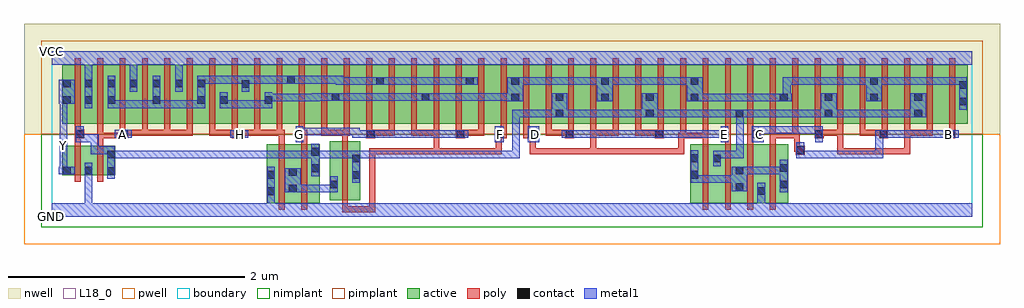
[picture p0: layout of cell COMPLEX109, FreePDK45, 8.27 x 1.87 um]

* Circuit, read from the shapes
.subckt COMPLEX109 A B C D E F G GND H VCC Y
M1 GND n1 Y VSUBS nfet w=0.25u l=0.05u
M2 n1 A GND VSUBS nfet w=0.25u l=0.05u
M3 n2 H GND VSUBS nfet w=0.5u l=0.05u
M4 n1 G n2 VSUBS nfet w=0.5u l=0.05u
M5 n1 F n2 VSUBS nfet w=0.5u l=0.05u
M6 n1 D n3 VSUBS nfet w=0.5u l=0.05u
M7 n3 E n1 VSUBS nfet w=0.5u l=0.05u
M8 GND C n3 VSUBS nfet w=0.5u l=0.05u
M9 n3 B GND VSUBS nfet w=0.5u l=0.05u
M10 VCC n1 Y n4 pfet w=0.5u l=0.05u
M11 n5 A VCC n4 pfet w=0.5u l=0.05u m=5
M12 n6 H n5 n4 pfet w=0.5u l=0.05u m=4
M13 n7 G n5 n4 pfet w=0.5u l=0.05u
M14 n6 F n7 n4 pfet w=0.5u l=0.05u
M15 n8 F n6 n4 pfet w=0.5u l=0.05u
M16 n5 G n8 n4 pfet w=0.5u l=0.05u
M17 n9 G n5 n4 pfet w=0.5u l=0.05u
M18 n6 F n9 n4 pfet w=0.5u l=0.05u
M19 n10 F n6 n4 pfet w=0.5u l=0.05u
M20 n5 G n10 n4 pfet w=0.5u l=0.05u
M21 n11 G n5 n4 pfet w=0.5u l=0.05u
M22 n6 F n11 n4 pfet w=0.5u l=0.05u
M23 n12 D n6 n4 pfet w=0.5u l=0.05u
M24 n1 E n12 n4 pfet w=0.5u l=0.05u
M25 n13 E n1 n4 pfet w=0.5u l=0.05u
M26 n6 D n13 n4 pfet w=0.5u l=0.05u
M27 n14 D n6 n4 pfet w=0.5u l=0.05u
M28 n1 E n14 n4 pfet w=0.5u l=0.05u
M29 n15 E n1 n4 pfet w=0.5u l=0.05u
M30 n6 D n15 n4 pfet w=0.5u l=0.05u
M31 n16 D n6 n4 pfet w=0.5u l=0.05u
M32 n1 E n16 n4 pfet w=0.5u l=0.05u
M33 n17 C n1 n4 pfet w=0.5u l=0.05u
M34 n6 B n17 n4 pfet w=0.5u l=0.05u
M35 n18 B n6 n4 pfet w=0.5u l=0.05u
M36 n1 C n18 n4 pfet w=0.5u l=0.05u
M37 n19 C n1 n4 pfet w=0.5u l=0.05u
M38 n6 B n19 n4 pfet w=0.5u l=0.05u
M39 n20 B n6 n4 pfet w=0.5u l=0.05u
M40 n1 C n20 n4 pfet w=0.5u l=0.05u
M41 n21 C n1 n4 pfet w=0.5u l=0.05u
M42 n6 B n21 n4 pfet w=0.5u l=0.05u
.ends

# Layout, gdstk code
import gdstk
lib = gdstk.Library(unit=1e-6, precision=1e-09)
def R(c, l, rs):  # rectangles x0, y0, x1, y1
    for r in rs: c.add(gdstk.rectangle(r[:2], r[2:], *l))
def A(c, l, x, y, w, h, nx, ny, dx, dy):  # array of equal rectangles
    R(c, l, [(x+i*dx, y+j*dy, x+i*dx+w, y+j*dy+h) for i in range(nx) for j in range(ny)])
active = (1, 0)
pwell = (2, 0)
nwell = (3, 0)
nimplant = (4, 0)
pimplant = (5, 0)
poly = (9, 0)
contact = (10, 0)
metal1 = (11, 0)
L18_0 = (18, 0)
boundary = (235, 0)

complex109 = lib.new_cell('COMPLEX109')
A(complex109, active, 0.09, 0.787, 0.075, 0.413, 4, 1, 0.38, 0)
A(complex109, active, 0.85, 0.787, 0.265, 0.5, 3, 1, 0.19, 0)
A(complex109, active, 3.89, 0.787, 0.075, 0.413, 3, 1, 0.76, 0)
A(complex109, active, 4.495, 0.787, 0.23, 0.5, 4, 1, 0.38, 0)
A(complex109, active, 4.65, 0.787, 0.225, 0.5, 4, 1, 0.38, 0)
R(complex109, active, [(1.82,0.112,2.08,0.612), (1.82,0.112,1.895,0.612), (2.005,0.112,2.27,0.612), (5.41,0.112,5.675,0.612), (5.6,0.112,5.865,0.612), (5.79,0.112,6.05,0.612), (5.975,0.112,6.24,0.612), (5.975,0.112,6.05,0.592), (2.355,0.137,2.615,0.637), (2.005,0.145,2.08,0.592), (2.195,0.145,2.27,0.612), (2.355,0.145,2.43,0.637), (2.54,0.145,2.615,0.637), (5.41,0.145,5.485,0.612), (5.6,0.145,5.675,0.592), (5.79,0.145,5.865,0.592), (6.165,0.145,6.24,0.612), (0.09,0.35,0.165,0.6), (0.09,0.35,0.35,0.6), (0.275,0.35,0.54,0.6), (0.275,0.35,0.35,0.53), (0.465,0.35,0.54,0.6), (0.09,0.787,0.35,1.287), (0.275,0.787,0.545,1.287), (0.275,0.787,0.35,1.255), (0.47,0.787,0.73,1.287), (0.655,0.787,0.925,1.287), (0.655,0.787,0.73,1.255), (1.04,0.787,1.115,1.255), (1.42,0.787,1.68,1.287), (1.42,0.787,1.495,1.07), (1.605,0.787,1.68,1.2), (1.605,0.787,1.875,1.287), (1.8,0.787,2.065,1.287), (1.8,0.787,1.875,1.07), (1.99,0.787,2.215,1.287), (2.215,0.787,2.442,1.287), (2.367,0.787,2.442,1.07), (2.367,0.787,2.595,1.287), (2.595,0.787,2.82,1.287), (2.745,0.787,2.82,1.2), (2.745,0.787,2.975,1.287), (2.975,0.787,3.205,1.287), (3.13,0.787,3.355,1.287), (3.13,0.787,3.205,1.07), (3.355,0.787,3.58,1.287), (3.505,0.787,3.58,1.2), (3.505,0.787,3.735,1.287), (3.735,0.787,3.965,1.287), (3.89,0.787,4.115,1.287), (4.115,0.787,4.34,1.287), (4.265,0.787,4.495,1.287), (4.265,0.787,4.34,1.07), (5.03,0.787,5.105,1.07), (5.79,0.787,5.865,1.07), (6.015,0.787,6.24,1.287), (6.165,0.787,6.24,1.2), (6.165,0.787,6.395,1.287), (6.395,0.787,6.62,1.287), (6.545,0.787,6.775,1.287), (6.545,0.787,6.62,1.07), (6.775,0.787,7.005,1.287), (6.93,0.787,7.005,1.2), (6.93,0.787,7.155,1.287), (7.155,0.787,7.38,1.287), (7.305,0.787,7.535,1.287), (7.305,0.787,7.38,1.07), (7.535,0.787,7.76,1.287), (7.685,0.787,7.76,1.2), (1.99,0.807,2.065,1.2)])
R(complex109, pwell, [(-0.235,-0.235,8.035,0.7)])
R(complex109, nwell, [(-0.235,0.7,8.035,1.635)])
R(complex109, nimplant, [(-0.09,-0.09,7.89,0.7)])
R(complex109, pimplant, [(-0.09,0.7,7.89,1.49)])
A(complex109, poly, 5.515, 0.057, 0.05, 0.61, 4, 1, 0.19, 0)
A(complex109, poly, 5.515, 0.617, 0.05, 0.095, 4, 1, 0.19, 0)
A(complex109, poly, 0.575, 0.687, 0.05, 0.095, 25, 1, 0.19, 0)
A(complex109, poly, 0.955, 0.687, 0.24, 0.05, 3, 1, 0.38, 0)
A(complex109, poly, 2.855, 0.687, 0.05, 0.05, 3, 1, 0.19, 0)
A(complex109, poly, 6.465, 0.687, 0.05, 0.095, 7, 1, 0.19, 0)
A(complex109, poly, 0.195, 0.732, 0.05, 0.61, 40, 1, 0.19, 0)
R(complex109, poly, [(2.46,0.037,2.51,0.132), (2.46,0.037,2.51,0.087), (2.46,0.037,2.51,0.087), (2.46,0.037,2.51,0.087), (2.46,0.037,2.74,0.087), (2.69,0.037,2.74,0.087), (2.69,0.037,2.74,0.087), (2.69,0.037,2.74,0.087), (2.69,0.037,2.74,0.58), (1.925,0.057,1.975,0.667), (2.115,0.057,2.165,0.667), (2.46,0.082,2.51,0.692), (0.195,0.295,0.245,0.655), (0.385,0.295,0.435,0.655), (6.305,0.525,6.38,0.6), (2.69,0.53,2.74,0.58), (2.69,0.53,2.74,0.58), (2.69,0.53,2.74,0.58), (2.69,0.53,2.872,0.58), (2.822,0.53,2.872,0.58), (2.822,0.53,3.152,0.58), (3.102,0.53,3.152,0.58), (3.102,0.53,3.152,0.58), (3.102,0.53,3.152,0.58), (3.102,0.53,3.285,0.58), (3.235,0.53,3.285,0.58), (3.235,0.53,3.285,0.58), (3.235,0.53,3.285,0.58), (3.235,0.53,3.285,0.58), (3.235,0.53,3.285,0.58), (3.235,0.53,3.285,0.737), (3.235,0.53,3.417,0.58), (3.367,0.53,3.417,0.58), (3.367,0.53,3.417,0.58), (3.367,0.53,3.417,0.58), (3.367,0.53,3.68,0.58), (3.63,0.53,3.68,0.58), (3.63,0.53,3.68,0.58), (3.63,0.53,3.68,0.58), (3.63,0.53,3.812,0.58), (3.762,0.53,3.812,0.58), (3.762,0.53,3.812,0.58), (3.762,0.53,3.812,0.58), (3.762,0.53,3.812,0.712), (4.052,0.53,4.102,0.58), (4.052,0.53,4.102,0.58), (4.052,0.53,4.102,0.58), (4.052,0.53,4.267,0.58), (4.052,0.53,4.102,0.712), (4.217,0.53,4.267,0.58), (4.217,0.53,4.267,0.58), (4.217,0.53,4.267,0.58), (4.217,0.53,4.4,0.58), (4.35,0.53,4.4,0.58), (4.35,0.53,4.615,0.58), (4.565,0.53,4.615,0.58), (4.565,0.53,4.615,0.58), (4.565,0.53,4.615,0.58), (4.565,0.53,4.615,0.737), (4.565,0.53,4.862,0.58), (4.812,0.53,4.862,0.58), (4.812,0.53,4.862,0.58), (4.812,0.53,4.862,0.58), (4.812,0.53,4.995,0.58), (4.945,0.53,4.995,0.58), (4.945,0.53,4.995,0.58), (4.945,0.53,4.995,0.58), (4.945,0.53,5.127,0.58), (5.077,0.53,5.127,0.58), (5.077,0.53,5.127,0.58), (5.077,0.53,5.127,0.58), (5.077,0.53,5.36,0.58), (5.31,0.53,5.36,0.58), (5.31,0.53,5.36,0.58), (5.31,0.53,5.36,0.58), (5.31,0.53,5.36,0.58), (5.31,0.53,5.36,0.58), (5.31,0.53,5.36,0.712), (6.655,0.53,6.705,0.58), (6.655,0.53,6.705,0.58), (6.655,0.53,6.705,0.58), (6.655,0.53,6.705,0.737), (6.655,0.53,6.927,0.58), (6.877,0.53,6.927,0.58), (6.877,0.53,6.927,0.58), (6.877,0.53,6.927,0.58), (6.877,0.53,7.06,0.58), (7.01,0.53,7.06,0.58), (7.01,0.53,7.06,0.58), (7.01,0.53,7.06,0.58), (7.01,0.53,7.275,0.58), (7.225,0.53,7.275,0.58), (7.225,0.53,7.275,0.737), (6.29,0.55,6.34,0.712), (6.29,0.55,6.355,0.6), (6.305,0.55,6.355,0.6), (0.195,0.605,0.245,0.712), (0.385,0.605,0.435,0.712), (1.925,0.617,1.975,0.737), (2.115,0.617,2.165,0.712), (2.46,0.642,2.51,0.737), (0.195,0.662,0.275,0.737), (0.385,0.662,0.435,0.712), (0.385,0.662,0.435,0.712), (0.385,0.662,0.435,0.712), (0.385,0.662,0.625,0.712), (0.385,0.662,0.435,0.782), (0.575,0.662,0.65,0.737), (1.525,0.662,1.617,0.737), (2.062,0.662,2.165,0.737), (2.665,0.662,2.74,0.737), (3.425,0.662,3.5,0.737), (3.762,0.662,3.812,0.712), (3.762,0.662,3.812,0.712), (3.762,0.662,3.855,0.737), (3.995,0.662,4.102,0.737), (4.052,0.662,4.102,0.712), (4.052,0.662,4.102,0.712), (4.35,0.662,4.425,0.737), (5.11,0.662,5.185,0.737), (5.31,0.662,5.375,0.712), (5.325,0.662,5.565,0.712), (5.325,0.662,5.375,0.782), (5.515,0.662,5.565,0.712), (5.515,0.662,5.565,0.712), (5.515,0.662,5.565,0.712), (5.515,0.662,5.565,0.782), (5.662,0.662,5.755,0.737), (5.895,0.662,6.002,0.737), (6.085,0.662,6.135,0.712), (6.085,0.662,6.135,0.712), (6.085,0.662,6.135,0.712), (6.085,0.662,6.325,0.712), (6.085,0.662,6.135,0.782), (6.275,0.662,6.325,0.782), (6.275,0.662,6.34,0.712), (6.465,0.662,6.54,0.737), (7.01,0.662,7.085,0.737), (7.58,0.662,7.655,0.737), (0.195,0.687,0.245,0.782), (0.6,0.687,0.815,0.737), (0.765,0.687,0.815,0.737), (0.765,0.687,0.815,0.737), (0.765,0.687,0.815,0.737), (0.765,0.687,1.005,0.737), (0.955,0.687,1.005,0.737), (0.955,0.687,1.005,0.737), (0.955,0.687,1.005,0.737), (1.145,0.687,1.195,0.737), (1.145,0.687,1.195,0.737), (1.145,0.687,1.195,0.737), (1.335,0.687,1.385,0.737), (1.335,0.687,1.385,0.737), (1.335,0.687,1.385,0.737), (1.567,0.687,1.765,0.737), (1.715,0.687,1.765,0.737), (1.715,0.687,1.765,0.737), (1.715,0.687,1.765,0.737), (1.905,0.687,1.955,0.737), (1.905,0.687,1.955,0.737), (1.905,0.687,1.975,0.737), (2.285,0.687,2.335,0.737), (2.285,0.687,2.335,0.737), (2.285,0.687,2.335,0.737), (2.285,0.687,2.51,0.737), (2.46,0.687,2.525,0.737), (2.69,0.687,2.905,0.737), (2.855,0.687,2.905,0.737), (2.855,0.687,2.905,0.737), (3.045,0.687,3.285,0.737), (3.235,0.687,3.285,0.737), (3.235,0.687,3.285,0.737), (3.235,0.687,3.285,0.737), (3.235,0.687,3.285,0.737), (3.45,0.687,3.665,0.737), (3.615,0.687,3.665,0.737), (3.615,0.687,3.665,0.737), (3.615,0.687,3.665,0.737), (4.185,0.687,4.235,0.737), (4.185,0.687,4.4,0.737), (4.35,0.687,4.4,0.737), (4.35,0.687,4.4,0.737), (4.565,0.687,4.615,0.737), (4.565,0.687,4.615,0.737), (4.565,0.687,4.615,0.737), (4.565,0.687,4.805,0.737), (4.755,0.687,4.805,0.737), (4.755,0.687,4.805,0.737), (4.755,0.687,4.805,0.737), (4.945,0.687,4.995,0.737), (4.945,0.687,5.16,0.737), (5.11,0.687,5.16,0.737), (5.11,0.687,5.16,0.737), (5.705,0.687,5.755,0.782), (5.895,0.687,5.945,0.782), (6.49,0.687,6.54,0.737), (6.49,0.687,6.54,0.737), (6.49,0.687,6.705,0.737), (6.655,0.687,6.705,0.737), (6.655,0.687,6.705,0.737), (6.655,0.687,6.705,0.737), (6.845,0.687,6.895,0.737), (6.845,0.687,6.895,0.737), (6.845,0.687,6.895,0.737), (6.845,0.687,7.06,0.737), (7.225,0.687,7.275,0.737), (7.225,0.687,7.275,0.737), (7.225,0.687,7.275,0.737), (7.225,0.687,7.465,0.737), (7.415,0.687,7.465,0.737), (7.415,0.687,7.465,0.737), (7.415,0.687,7.465,0.737)])
A(complex109, contact, 0.475, 0.955, 0.065, 0.065, 3, 1, 0.38, 0)
A(complex109, contact, 3.895, 0.977, 0.065, 0.065, 3, 2, 0.76, 0.14)
A(complex109, contact, 0.855, 1.095, 0.065, 0.065, 3, 1, 0.19, 0)
R(complex109, contact, [(1.825,0.182,1.89,0.247), (5.98,0.185,6.045,0.25), (2.01,0.205,2.075,0.27), (5.795,0.217,5.86,0.282), (2.36,0.24,2.425,0.305), (6.17,0.24,6.235,0.305), (2.545,0.32,2.61,0.385), (1.825,0.322,1.89,0.387), (5.415,0.322,5.48,0.387), (2.01,0.345,2.075,0.41), (0.47,0.355,0.535,0.42), (0.095,0.357,0.16,0.422), (0.28,0.357,0.345,0.422), (5.795,0.357,5.86,0.422), (2.2,0.377,2.265,0.442), (6.17,0.38,6.235,0.445), (2.545,0.46,2.61,0.525), (5.605,0.46,5.67,0.525), (5.415,0.462,5.48,0.527), (0.47,0.495,0.535,0.56), (2.2,0.517,2.265,0.582), (6.31,0.53,6.375,0.595), (0.205,0.667,0.27,0.732), (0.58,0.667,0.645,0.732), (1.547,0.667,1.612,0.732), (2.067,0.667,2.132,0.732), (2.67,0.667,2.735,0.732), (3.43,0.667,3.495,0.732), (3.767,0.667,3.832,0.732), (4.032,0.667,4.097,0.732), (4.355,0.667,4.42,0.732), (5.115,0.667,5.18,0.732), (5.667,0.667,5.732,0.732), (5.932,0.667,5.997,0.732), (6.47,0.667,6.535,0.732), (7.015,0.667,7.08,0.732), (7.585,0.667,7.65,0.732), (4.27,0.84,4.335,0.905), (5.035,0.84,5.1,0.905), (5.795,0.84,5.86,0.905), (6.55,0.84,6.615,0.905), (7.31,0.84,7.375,0.905), (7.69,0.942,7.755,1.007), (0.095,0.955,0.16,1.02), (0.28,0.955,0.345,1.02), (1.425,0.955,1.49,1.02), (1.805,0.955,1.87,1.02), (6.17,0.977,6.235,1.042), (6.935,0.977,7,1.042), (2.372,0.98,2.437,1.045), (3.135,0.98,3.2,1.045), (4.27,0.98,4.335,1.045), (5.035,0.98,5.1,1.045), (6.55,0.98,6.615,1.045), (7.31,0.98,7.375,1.045), (7.69,1.082,7.755,1.147), (1.61,1.092,1.675,1.157), (0.095,1.095,0.16,1.16), (0.28,1.095,0.345,1.16), (0.475,1.095,0.54,1.16), (0.66,1.095,0.725,1.16), (2.75,1.117,2.815,1.182), (3.51,1.117,3.575,1.182), (6.935,1.117,7,1.182), (1.995,1.127,2.06,1.192)])
A(complex109, metal1, 0.475, 0.92, 0.065, 0.275, 3, 1, 0.38, 0)
A(complex109, metal1, 3.86, 0.977, 0.135, 0.205, 3, 1, 0.76, 0)
R(complex109, metal1, [(0,0,7.8,0.115), (0.28,0.05,0.345,0.115), (0.28,0.05,0.345,0.115), (0.28,0.05,0.345,0.115), (0.28,0.05,0.345,0.115), (0.28,0.05,0.345,0.115), (0.28,0.05,0.345,0.115), (0.28,0.05,0.345,0.387), (1.825,0.05,1.89,0.115), (1.825,0.05,1.89,0.115), (1.825,0.05,1.89,0.212), (5.98,0.05,6.045,0.115), (5.98,0.05,6.045,0.115), (5.98,0.05,6.045,0.215), (1.825,0.147,1.89,0.422), (5.98,0.15,6.045,0.285), (1.975,0.205,2.11,0.41), (2.045,0.205,2.11,0.27), (2.045,0.205,2.11,0.27), (2.045,0.205,2.255,0.27), (2.19,0.205,2.255,0.27), (2.19,0.205,2.27,0.27), (2.205,0.205,2.27,0.27), (2.205,0.205,2.425,0.27), (2.36,0.205,2.425,0.34), (6.17,0.205,6.235,0.48), (5.76,0.217,5.895,0.422), (2.545,0.285,2.61,0.56), (5.415,0.287,5.48,0.562), (5.415,0.287,5.582,0.352), (5.517,0.287,5.582,0.352), (5.517,0.287,5.687,0.352), (5.622,0.287,5.825,0.352), (5.622,0.287,5.687,0.352), (5.76,0.287,5.825,0.352), (5.76,0.287,5.825,0.352), (0.47,0.32,0.535,0.595), (0.28,0.322,0.345,0.457), (2.2,0.342,2.265,0.617), (0.06,0.357,0.195,0.422), (0.067,0.357,0.132,0.597), (5.83,0.357,6.062,0.422), (5.997,0.357,6.062,0.422), (5.997,0.357,6.062,0.422), (5.997,0.357,6.062,0.422), (5.997,0.357,6.235,0.422), (6.17,0.357,6.235,0.422), (6.17,0.357,6.235,0.422), (5.605,0.425,5.67,0.56), (0.47,0.495,0.782,0.56), (0.717,0.495,0.92,0.56), (0.717,0.495,0.782,0.56), (0.717,0.495,0.782,0.56), (0.717,0.495,0.782,0.56), (0.855,0.495,0.92,0.56), (0.855,0.495,0.92,0.56), (0.855,0.495,0.92,0.56), (0.855,0.495,1.057,0.56), (0.992,0.495,1.195,0.56), (0.992,0.495,1.057,0.56), (0.992,0.495,1.057,0.56), (0.992,0.495,1.057,0.56), (1.13,0.495,1.195,0.56), (1.13,0.495,1.195,0.56), (1.13,0.495,1.195,0.56), (1.13,0.495,1.437,0.56), (1.372,0.495,1.575,0.56), (1.372,0.495,1.437,0.56), (1.372,0.495,1.437,0.56), (1.372,0.495,1.437,0.56), (1.51,0.495,1.575,0.56), (1.51,0.495,1.732,0.56), (1.667,0.495,1.87,0.56), (1.667,0.495,1.732,0.56), (1.667,0.495,1.732,0.56), (1.667,0.495,1.732,0.56), (1.805,0.495,1.87,0.56), (1.805,0.495,1.87,0.56), (1.805,0.495,1.87,0.56), (1.805,0.495,2.007,0.56), (1.942,0.495,2.007,0.56), (1.942,0.495,2.007,0.56), (1.942,0.495,2.007,0.56), (1.942,0.495,2.265,0.56), (2.2,0.495,2.335,0.56), (2.27,0.495,2.335,0.56), (2.27,0.495,2.472,0.56), (2.407,0.495,2.472,0.56), (2.407,0.495,2.475,0.56), (2.41,0.495,2.475,0.56), (2.41,0.495,2.61,0.56), (2.545,0.495,2.77,0.56), (2.705,0.495,2.77,0.56), (2.705,0.495,2.77,0.56), (2.705,0.495,2.77,0.56), (2.705,0.495,2.987,0.56), (2.922,0.495,3.125,0.56), (2.922,0.495,2.987,0.56), (2.922,0.495,2.987,0.56), (2.922,0.495,2.987,0.56), (3.06,0.495,3.125,0.56), (3.06,0.495,3.125,0.56), (3.06,0.495,3.125,0.56), (3.06,0.495,3.262,0.56), (3.197,0.495,3.262,0.56), (3.197,0.495,3.402,0.56), (3.337,0.495,3.402,0.56), (3.337,0.495,3.402,0.56), (3.337,0.495,3.402,0.56), (3.337,0.495,3.65,0.56), (3.585,0.495,3.65,0.56), (3.585,0.495,3.65,0.56), (3.585,0.495,3.65,0.56), (3.585,0.495,3.787,0.56), (3.722,0.495,3.787,0.56), (3.722,0.495,3.787,0.56), (3.722,0.495,3.787,0.56), (3.722,0.495,3.965,0.56), (3.9,0.495,3.965,0.56), (3.9,0.495,3.965,0.905), (5.605,0.495,5.86,0.56), (5.795,0.495,5.86,0.56), (5.795,0.495,5.86,0.56), (5.795,0.495,5.865,0.56), (5.8,0.495,5.865,0.905), (6.31,0.495,6.375,0.63), (6.31,0.495,6.397,0.56), (6.332,0.495,6.535,0.56), (6.332,0.495,6.397,0.56), (6.47,0.495,6.535,0.56), (6.47,0.495,6.535,0.56), (6.47,0.495,6.535,0.56), (6.47,0.495,6.69,0.56), (6.625,0.495,6.69,0.56), (6.625,0.495,6.827,0.56), (6.762,0.495,6.827,0.56), (6.762,0.495,6.827,0.56), (6.762,0.495,6.827,0.56), (6.762,0.495,7.045,0.56), (6.98,0.495,7.045,0.56), (6.98,0.495,7.045,0.732), (0.332,0.53,0.397,0.595), (0.332,0.53,0.407,0.595), (0.332,0.53,0.397,0.697), (0.342,0.53,0.407,0.595), (0.342,0.53,0.535,0.595), (0.067,0.532,0.132,0.667), (0.067,0.602,0.132,1.02), (0.205,0.632,0.27,0.767), (0.205,0.632,0.397,0.697), (0.332,0.632,0.397,0.697), (2.067,0.632,2.132,0.767), (3.752,0.632,3.832,0.767), (4.032,0.632,4.132,0.767), (5.667,0.632,5.732,0.767), (5.932,0.632,6.032,0.767), (6.47,0.632,6.535,0.767), (0.532,0.667,0.68,0.737), (1.512,0.667,1.667,0.732), (2.545,0.667,2.7,0.732), (2.545,0.667,2.61,0.755), (2.635,0.667,2.77,0.732), (2.705,0.667,2.77,0.732), (2.705,0.667,2.77,0.732), (2.705,0.667,2.987,0.732), (2.922,0.667,3.125,0.732), (2.922,0.667,2.987,0.732), (2.922,0.667,2.987,0.732), (2.922,0.667,2.987,0.732), (3.06,0.667,3.125,0.732), (3.06,0.667,3.125,0.732), (3.06,0.667,3.125,0.732), (3.06,0.667,3.262,0.732), (3.197,0.667,3.4,0.732), (3.197,0.667,3.262,0.732), (3.335,0.667,3.4,0.732), (3.335,0.667,3.46,0.732), (3.395,0.667,3.53,0.732), (4.32,0.667,4.455,0.732), (4.39,0.667,4.507,0.732), (4.442,0.667,4.507,0.732), (4.442,0.667,4.592,0.732), (4.527,0.667,4.592,0.732), (4.527,0.667,4.79,0.732), (4.725,0.667,4.79,0.732), (4.725,0.667,4.79,0.732), (4.725,0.667,4.79,0.732), (4.725,0.667,4.927,0.732), (4.862,0.667,4.927,0.732), (4.862,0.667,4.927,0.732), (4.862,0.667,4.927,0.732), (4.862,0.667,5.145,0.732), (5.08,0.667,5.145,0.732), (5.08,0.667,5.145,0.732), (5.08,0.667,5.215,0.732), (5.15,0.667,5.282,0.732), (5.217,0.667,5.42,0.732), (5.217,0.667,5.282,0.732), (5.355,0.667,5.42,0.732), (5.355,0.667,5.42,0.732), (5.355,0.667,5.42,0.732), (5.355,0.667,5.582,0.732), (5.517,0.667,5.582,0.732), (5.517,0.667,5.687,0.732), (5.622,0.667,5.687,0.732), (5.622,0.667,5.732,0.732), (6.98,0.667,7.045,0.732), (6.98,0.667,7.045,0.732), (6.98,0.667,7.045,0.732), (6.98,0.667,7.045,0.732), (6.98,0.667,7.115,0.732), (7.05,0.667,7.202,0.732), (7.137,0.667,7.202,0.732), (7.137,0.667,7.32,0.732), (7.255,0.667,7.32,0.732), (7.255,0.667,7.46,0.732), (7.395,0.667,7.46,0.732), (7.395,0.667,7.46,0.732), (7.395,0.667,7.46,0.732), (7.395,0.667,7.597,0.732), (7.532,0.667,7.597,0.732), (7.532,0.667,7.597,0.732), (7.532,0.667,7.685,0.732), (2.067,0.69,2.265,0.755), (2.2,0.69,2.265,0.755), (2.2,0.69,2.27,0.755), (2.205,0.69,2.27,0.755), (2.205,0.69,2.472,0.755), (2.407,0.69,2.61,0.755), (2.407,0.69,2.472,0.755), (2.407,0.69,2.472,0.755), (2.407,0.69,2.472,0.755), (5.967,0.702,6.032,0.767), (5.967,0.702,6.032,0.767), (5.967,0.702,6.2,0.767), (6.135,0.702,6.2,0.767), (6.135,0.702,6.2,0.767), (6.135,0.702,6.2,0.767), (6.135,0.702,6.397,0.767), (6.332,0.702,6.535,0.767), (6.332,0.702,6.397,0.767), (6.332,0.702,6.397,0.767), (6.332,0.702,6.397,0.767), (3.9,0.84,3.965,0.905), (3.9,0.84,3.965,0.905), (3.9,0.84,3.965,0.905), (3.9,0.84,3.99,0.905), (3.925,0.84,3.99,0.905), (3.925,0.84,4.132,0.905), (4.067,0.84,4.132,0.905), (4.067,0.84,4.132,0.905), (4.067,0.84,4.132,0.905), (4.067,0.84,4.3,0.905), (4.235,0.84,4.37,1.045), (4.305,0.84,4.37,0.905), (4.305,0.84,4.37,0.905), (4.305,0.84,4.507,0.905), (4.442,0.84,4.645,0.905), (4.442,0.84,4.507,0.905), (4.58,0.84,4.645,0.905), (4.58,0.84,4.645,0.905), (4.58,0.84,4.645,0.905), (4.58,0.84,4.79,0.905), (4.725,0.84,4.79,0.905), (4.725,0.84,4.927,0.905), (4.862,0.84,5.065,0.905), (4.862,0.84,4.927,0.905), (4.862,0.84,4.927,0.905), (4.862,0.84,4.927,0.905), (5,0.84,5.135,1.045), (5.07,0.84,5.282,0.905), (5.217,0.84,5.42,0.905), (5.217,0.84,5.282,0.905), (5.217,0.84,5.282,0.905), (5.217,0.84,5.282,0.905), (5.355,0.84,5.42,0.905), (5.355,0.84,5.42,0.905), (5.355,0.84,5.42,0.905), (5.355,0.84,5.582,0.905), (5.517,0.84,5.582,0.905), (5.517,0.84,5.687,0.905), (5.622,0.84,5.825,0.905), (5.622,0.84,5.687,0.905), (5.76,0.84,5.825,0.905), (5.76,0.84,5.825,0.905), (5.76,0.84,5.895,0.905), (5.8,0.84,5.865,0.905), (5.8,0.84,5.865,0.905), (5.83,0.84,6.032,0.905), (5.967,0.84,6.032,0.905), (5.967,0.84,6.032,0.905), (5.967,0.84,6.032,0.905), (5.967,0.84,6.237,0.905), (6.172,0.84,6.237,0.905), (6.172,0.84,6.237,0.905), (6.172,0.84,6.237,0.905), (6.172,0.84,6.397,0.905), (6.332,0.84,6.535,0.905), (6.332,0.84,6.397,0.905), (6.332,0.84,6.397,0.905), (6.332,0.84,6.397,0.905), (6.47,0.84,6.535,0.905), (6.47,0.84,6.58,0.905), (6.515,0.84,6.65,1.045), (6.585,0.84,6.69,0.905), (6.625,0.84,6.69,0.905), (6.625,0.84,6.827,0.905), (6.762,0.84,6.965,0.905), (6.762,0.84,6.827,0.905), (6.762,0.84,6.827,0.905), (6.762,0.84,6.827,0.905), (6.9,0.84,6.965,0.905), (6.9,0.84,7.182,0.905), (7.117,0.84,7.32,0.905), (7.117,0.84,7.182,0.905), (7.117,0.84,7.182,0.905), (7.117,0.84,7.182,0.905), (7.255,0.84,7.32,0.905), (7.255,0.84,7.34,0.905), (7.275,0.84,7.41,1.045), (7.69,0.907,7.755,1.182), (0.28,0.92,0.345,1.195), (0.475,0.92,0.782,0.985), (0.717,0.92,0.92,0.985), (0.717,0.92,0.782,0.985), (0.717,0.92,0.782,0.985), (0.717,0.92,0.782,0.985), (0.855,0.92,0.92,0.985), (0.855,0.92,0.92,0.985), (0.855,0.92,1.057,0.985), (0.992,0.92,1.057,0.985), (0.992,0.92,1.057,0.985), (0.992,0.92,1.057,0.985), (0.992,0.92,1.3,0.985), (1.235,0.92,1.3,0.985), (1.235,0.92,1.3,0.985), (1.425,0.92,1.49,1.055), (1.425,0.92,1.575,0.985), (1.51,0.92,1.575,0.985), (1.51,0.92,1.712,0.985), (1.647,0.92,1.712,0.985), (1.647,0.92,1.712,0.985), (1.647,0.92,1.712,0.985), (1.647,0.92,1.87,0.985), (1.805,0.92,1.87,1.055), (0.06,0.955,0.195,1.16), (1.805,0.977,1.87,1.042), (1.805,0.977,1.87,1.042), (1.805,0.977,2.007,1.042), (1.942,0.977,2.007,1.042), (1.942,0.977,2.007,1.042), (1.942,0.977,2.007,1.042), (1.942,0.977,2.247,1.042), (2.182,0.977,2.247,1.042), (2.182,0.977,2.27,1.042), (2.205,0.977,2.27,1.045), (5.45,0.977,5.582,1.042), (5.517,0.977,5.582,1.042), (5.517,0.977,5.687,1.042), (5.622,0.977,5.825,1.042), (5.622,0.977,5.687,1.042), (5.76,0.977,5.825,1.042), (5.76,0.977,5.825,1.042), (5.76,0.977,5.825,1.042), (5.76,0.977,6.062,1.042), (5.997,0.977,6.2,1.042), (5.997,0.977,6.062,1.042), (5.997,0.977,6.062,1.042), (5.997,0.977,6.062,1.042), (6.135,0.977,6.2,1.042), (6.135,0.977,6.2,1.042), (6.135,0.977,6.27,1.042), (6.195,0.977,6.26,1.182), (6.9,0.977,7.035,1.182), (2.205,0.98,2.402,1.045), (2.337,0.98,2.472,1.045), (2.407,0.98,2.562,1.045), (2.497,0.98,2.562,1.045), (2.497,0.98,2.632,1.045), (2.567,0.98,2.632,1.045), (2.567,0.98,2.7,1.045), (2.635,0.98,2.7,1.045), (2.635,0.98,2.77,1.045), (2.705,0.98,2.77,1.045), (2.705,0.98,2.987,1.045), (2.922,0.98,3.125,1.045), (2.922,0.98,2.987,1.045), (2.922,0.98,2.987,1.045), (2.922,0.98,2.987,1.045), (3.06,0.98,3.125,1.045), (3.06,0.98,3.165,1.045), (3.1,0.98,3.235,1.045), (3.17,0.98,3.262,1.045), (3.197,0.98,3.4,1.045), (3.197,0.98,3.262,1.045), (3.335,0.98,3.4,1.045), (3.335,0.98,3.4,1.045), (3.335,0.98,3.4,1.045), (3.335,0.98,3.54,1.045), (3.475,0.98,3.54,1.045), (3.475,0.98,3.54,1.045), (3.475,0.98,3.54,1.045), (3.475,0.98,3.787,1.045), (3.722,0.98,3.925,1.045), (3.722,0.98,3.787,1.045), (3.722,0.98,3.787,1.045), (3.722,0.98,3.787,1.045), (1.61,1.057,1.675,1.192), (0.66,1.06,0.725,1.195), (1.045,1.06,1.11,1.195), (2.407,1.117,2.61,1.182), (2.407,1.117,2.472,1.182), (2.407,1.117,2.472,1.182), (2.407,1.117,2.472,1.192), (2.545,1.117,2.61,1.182), (2.545,1.117,2.78,1.182), (2.715,1.117,2.78,1.182), (2.715,1.117,2.78,1.182), (2.715,1.117,2.85,1.182), (2.785,1.117,2.987,1.182), (2.922,1.117,3.125,1.182), (2.922,1.117,2.987,1.182), (2.922,1.117,2.987,1.182), (2.922,1.117,2.987,1.182), (3.06,1.117,3.125,1.182), (3.06,1.117,3.125,1.182), (3.06,1.117,3.125,1.182), (3.06,1.117,3.262,1.182), (3.197,1.117,3.4,1.182), (3.197,1.117,3.262,1.182), (3.335,1.117,3.4,1.182), (3.335,1.117,3.4,1.182), (3.335,1.117,3.4,1.182), (3.335,1.117,3.54,1.182), (3.475,1.117,3.61,1.182), (3.93,1.117,3.995,1.182), (3.93,1.117,3.995,1.182), (3.93,1.117,4.132,1.182), (4.067,1.117,4.27,1.182), (4.067,1.117,4.132,1.182), (4.067,1.117,4.132,1.182), (4.067,1.117,4.132,1.182), (4.205,1.117,4.27,1.182), (4.205,1.117,4.27,1.182), (4.205,1.117,4.27,1.182), (4.205,1.117,4.507,1.182), (4.442,1.117,4.645,1.182), (4.442,1.117,4.507,1.182), (4.58,1.117,4.645,1.182), (4.58,1.117,4.685,1.182), (4.69,1.117,4.782,1.182), (4.717,1.117,4.782,1.182), (4.717,1.117,4.927,1.182), (4.862,1.117,4.927,1.182), (4.862,1.117,4.927,1.182), (4.862,1.117,4.927,1.182), (4.862,1.117,5.145,1.182), (5.08,1.117,5.145,1.182), (5.08,1.117,5.282,1.182), (5.217,1.117,5.282,1.182), (5.217,1.117,5.282,1.182), (5.217,1.117,5.282,1.182), (5.217,1.117,5.445,1.182), (5.38,1.117,5.445,1.182), (5.38,1.117,5.445,1.182), (6.195,1.117,6.26,1.182), (6.195,1.117,6.397,1.182), (6.332,1.117,6.397,1.182), (6.332,1.117,6.397,1.182), (6.332,1.117,6.397,1.182), (6.332,1.117,6.552,1.182), (6.487,1.117,6.69,1.182), (6.487,1.117,6.552,1.182), (6.487,1.117,6.552,1.182), (6.487,1.117,6.552,1.182), (6.625,1.117,6.69,1.182), (6.625,1.117,6.827,1.182), (6.762,1.117,6.965,1.182), (6.762,1.117,6.827,1.182), (6.762,1.117,6.827,1.182), (6.762,1.117,6.827,1.182), (6.97,1.117,7.182,1.182), (7.117,1.117,7.32,1.182), (7.117,1.117,7.182,1.182), (7.117,1.117,7.182,1.182), (7.117,1.117,7.182,1.182), (7.255,1.117,7.32,1.182), (7.255,1.117,7.46,1.182), (7.395,1.117,7.46,1.182), (7.395,1.117,7.46,1.182), (7.395,1.117,7.46,1.182), (7.395,1.117,7.617,1.182), (7.552,1.117,7.755,1.182), (7.552,1.117,7.617,1.182), (7.552,1.117,7.617,1.182), (7.552,1.117,7.617,1.182), (1.235,1.127,1.437,1.192), (1.372,1.127,1.575,1.192), (1.372,1.127,1.437,1.192), (1.372,1.127,1.437,1.192), (1.372,1.127,1.437,1.192), (1.51,1.127,1.575,1.192), (1.51,1.127,1.675,1.192), (1.61,1.127,1.732,1.192), (1.667,1.127,1.87,1.192), (1.667,1.127,1.732,1.192), (1.805,1.127,1.87,1.192), (1.805,1.127,1.87,1.192), (1.805,1.127,1.87,1.192), (1.805,1.127,2.025,1.192), (1.96,1.127,2.095,1.192), (2.03,1.127,2.095,1.192), (2.03,1.127,2.095,1.192), (2.03,1.127,2.255,1.192), (2.19,1.127,2.255,1.192), (2.19,1.127,2.335,1.192), (2.27,1.127,2.335,1.192), (2.27,1.127,2.472,1.192), (0.28,1.13,0.345,1.35), (0.66,1.13,0.725,1.35), (1.045,1.13,1.11,1.35), (0,1.285,7.8,1.4)])
R(complex109, L18_0, [(0,0,7.8,0.115), (0.28,0.05,0.345,0.115), (0.28,0.05,0.345,0.115), (0.28,0.05,0.345,0.115), (0.28,0.05,0.345,0.115), (0.28,0.05,0.345,0.115), (0.28,0.05,0.345,0.115), (0.28,0.05,0.345,0.387), (1.825,0.05,1.89,0.115), (1.825,0.05,1.89,0.115), (1.825,0.05,1.89,0.212), (5.98,0.05,6.045,0.115), (5.98,0.05,6.045,0.115), (5.98,0.05,6.045,0.215), (1.825,0.147,1.89,0.422), (5.98,0.15,6.045,0.285), (0.28,0.322,0.345,0.457), (0.06,0.357,0.195,0.422), (0.067,0.357,0.132,0.597), (6.31,0.495,6.375,0.63), (6.31,0.495,6.397,0.56), (6.332,0.495,6.397,0.56), (6.332,0.495,6.535,0.56), (6.47,0.495,6.535,0.56), (6.47,0.495,6.535,0.56), (6.47,0.495,6.535,0.56), (6.47,0.495,6.69,0.56), (6.625,0.495,6.69,0.56), (6.625,0.495,6.827,0.56), (6.762,0.495,6.827,0.56), (6.762,0.495,6.827,0.56), (6.762,0.495,6.827,0.56), (6.762,0.495,7.045,0.56), (6.98,0.495,7.045,0.56), (6.98,0.495,7.045,0.732), (0.067,0.532,0.132,0.667), (0.067,0.567,0.132,0.632), (0.067,0.602,0.132,1.02), (2.067,0.632,2.132,0.767), (3.752,0.632,3.832,0.767), (4.032,0.632,4.132,0.767), (5.667,0.632,5.732,0.767), (5.932,0.632,6.032,0.767), (6.47,0.632,6.535,0.767), (0.532,0.667,0.68,0.737), (0.567,0.667,0.632,0.732), (1.512,0.667,1.667,0.732), (1.567,0.667,1.632,0.732), (2.067,0.667,2.132,0.732), (2.545,0.667,2.7,0.732), (2.545,0.667,2.61,0.755), (2.635,0.667,2.77,0.732), (2.705,0.667,2.77,0.732), (2.705,0.667,2.77,0.732), (2.705,0.667,2.987,0.732), (2.922,0.667,2.987,0.732), (2.922,0.667,2.987,0.732), (2.922,0.667,2.987,0.732), (2.922,0.667,3.125,0.732), (3.06,0.667,3.125,0.732), (3.06,0.667,3.125,0.732), (3.06,0.667,3.125,0.732), (3.06,0.667,3.262,0.732), (3.197,0.667,3.262,0.732), (3.197,0.667,3.4,0.732), (3.335,0.667,3.4,0.732), (3.335,0.667,3.46,0.732), (3.395,0.667,3.53,0.732), (3.767,0.667,3.832,0.732), (4.067,0.667,4.132,0.732), (4.32,0.667,4.455,0.732), (4.39,0.667,4.507,0.732), (4.442,0.667,4.507,0.732), (4.442,0.667,4.592,0.732), (4.527,0.667,4.592,0.732), (4.527,0.667,4.79,0.732), (4.725,0.667,4.79,0.732), (4.725,0.667,4.79,0.732), (4.725,0.667,4.79,0.732), (4.725,0.667,4.927,0.732), (4.862,0.667,4.927,0.732), (4.862,0.667,4.927,0.732), (4.862,0.667,4.927,0.732), (4.862,0.667,5.145,0.732), (5.08,0.667,5.215,0.732), (5.08,0.667,5.145,0.732), (5.08,0.667,5.145,0.732), (5.15,0.667,5.282,0.732), (5.217,0.667,5.282,0.732), (5.217,0.667,5.42,0.732), (5.355,0.667,5.42,0.732), (5.355,0.667,5.42,0.732), (5.355,0.667,5.42,0.732), (5.355,0.667,5.582,0.732), (5.517,0.667,5.582,0.732), (5.517,0.667,5.687,0.732), (5.622,0.667,5.687,0.732), (5.622,0.667,5.732,0.732), (5.667,0.667,5.732,0.732), (5.967,0.667,6.032,0.732), (6.98,0.667,7.115,0.732), (6.98,0.667,7.045,0.732), (6.98,0.667,7.045,0.732), (6.98,0.667,7.045,0.732), (6.98,0.667,7.045,0.732), (7.05,0.667,7.202,0.732), (7.137,0.667,7.202,0.732), (7.137,0.667,7.32,0.732), (7.255,0.667,7.32,0.732), (7.255,0.667,7.46,0.732), (7.395,0.667,7.46,0.732), (7.395,0.667,7.46,0.732), (7.395,0.667,7.46,0.732), (7.395,0.667,7.597,0.732), (7.532,0.667,7.597,0.732), (7.532,0.667,7.597,0.732), (7.532,0.667,7.685,0.732), (7.567,0.667,7.632,0.732), (2.067,0.69,2.265,0.755), (2.2,0.69,2.265,0.755), (2.2,0.69,2.27,0.755), (2.205,0.69,2.27,0.755), (2.205,0.69,2.472,0.755), (2.407,0.69,2.472,0.755), (2.407,0.69,2.472,0.755), (2.407,0.69,2.472,0.755), (2.407,0.69,2.61,0.755), (5.967,0.702,6.032,0.767), (5.967,0.702,6.032,0.767), (5.967,0.702,6.2,0.767), (6.135,0.702,6.2,0.767), (6.135,0.702,6.2,0.767), (6.135,0.702,6.2,0.767), (6.135,0.702,6.397,0.767), (6.332,0.702,6.397,0.767), (6.332,0.702,6.397,0.767), (6.332,0.702,6.397,0.767), (6.332,0.702,6.535,0.767), (0.28,0.92,0.345,1.195), (0.06,0.955,0.195,1.16), (0.66,1.06,0.725,1.195), (1.045,1.06,1.11,1.195), (0.28,1.13,0.345,1.35), (0.66,1.13,0.725,1.35), (1.045,1.13,1.11,1.35), (0,1.285,7.8,1.4)])
R(complex109, boundary, [(0,0,7.8,1.4)])
complex109.add(gdstk.Label('A', (0.6,0.7), layer=11, texttype=0))
complex109.add(gdstk.Label('B', (7.6,0.7), layer=11, texttype=0))
complex109.add(gdstk.Label('C', (6,0.7), layer=11, texttype=0))
complex109.add(gdstk.Label('D', (4.1,0.7), layer=11, texttype=0))
complex109.add(gdstk.Label('E', (5.7,0.7), layer=11, texttype=0))
complex109.add(gdstk.Label('F', (3.8,0.7), layer=11, texttype=0))
complex109.add(gdstk.Label('G', (2.1,0.7), layer=11, texttype=0))
complex109.add(gdstk.Label('H', (1.6,0.7), layer=11, texttype=0))
complex109.add(gdstk.Label('Y', (0.1,0.6), layer=11, texttype=0))
complex109.add(gdstk.Label('VCC', (0,1.4), layer=11, texttype=0))
complex109.add(gdstk.Label('GND', (0,0), layer=11, texttype=0))

lib.write_gds('COMPLEX109.gds')
